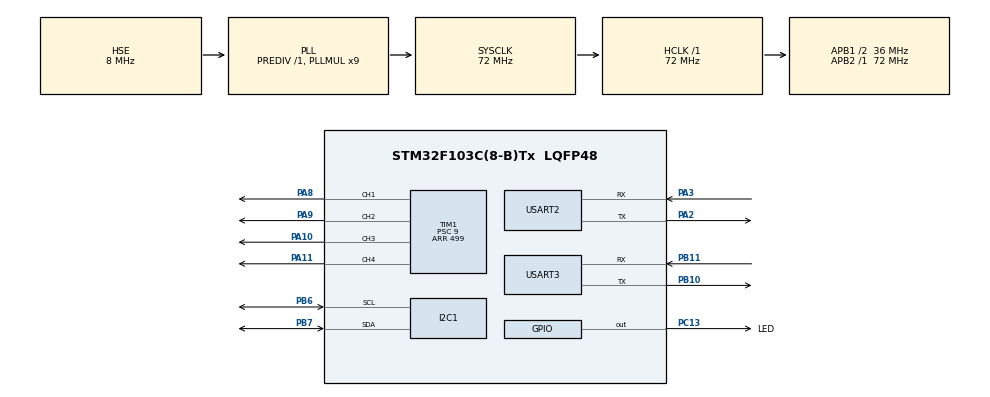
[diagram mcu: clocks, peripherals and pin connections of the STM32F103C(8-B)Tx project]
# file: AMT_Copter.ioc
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I2C1.I2C_Mode=I2C_Fast
I2C1.OwnAddress=0x03
Mcu.Family=STM32F1
Mcu.Name=STM32F103C(8-B)Tx
Mcu.Package=LQFP48
NVIC.I2C1_ER_IRQn=true\:2\:0\:true\:false\:true\:true
NVIC.I2C1_EV_IRQn=true\:2\:0\:true\:false\:true\:true
NVIC.PriorityGroup=NVIC_PRIORITYGROUP_4
NVIC.TIM2_IRQn=true\:3\:0\:true\:false\:true\:true
NVIC.USART2_IRQn=true\:5\:0\:true\:false\:true\:true
NVIC.USART3_IRQn=true\:1\:0\:true\:false\:true\:true
PA10.Signal=S_TIM1_CH3
PA11.Signal=S_TIM1_CH4
PA13.Mode=Serial_Wire
PA13.Signal=SYS_JTMS-SWDIO
PA14.Mode=Serial_Wire
PA14.Signal=SYS_JTCK-SWCLK
PA2.Mode=Asynchronous
PA2.Signal=USART2_TX
PA3.Mode=Asynchronous
PA3.Signal=USART2_RX
PA8.Signal=S_TIM1_CH1
PA9.Signal=S_TIM1_CH2
PB10.Mode=Asynchronous
PB10.Signal=USART3_TX
PB11.Mode=Asynchronous
PB11.Signal=USART3_RX
PB6.Mode=I2C
PB6.Signal=I2C1_SCL
PB7.Mode=I2C
PB7.Signal=I2C1_SDA
PC13-TAMPER-RTC.GPIO_Label=LED
PC13-TAMPER-RTC.GPIO_ModeDefaultOutputPP=GPIO_MODE_OUTPUT_PP
PC13-TAMPER-RTC.Signal=GPIO_Output
PD0-OSC_IN.Mode=HSE-External-Oscillator
PD0-OSC_IN.Signal=RCC_OSC_IN
PD1-OSC_OUT.Mode=HSE-External-Oscillator
PD1-OSC_OUT.Signal=RCC_OSC_OUT
ProjectManager.HeapSize=0x200
ProjectManager.StackSize=0x400
ProjectManager.TargetToolchain=Other Toolchains (GPDSC)
RCC.AHBFreq_Value=72000000
RCC.APB1CLKDivider=RCC_HCLK_DIV2
RCC.APB1Freq_Value=36000000
RCC.APB1TimFreq_Value=72000000
RCC.APB2Freq_Value=72000000
RCC.APB2TimFreq_Value=72000000
RCC.HCLKFreq_Value=72000000
RCC.PLLMUL=RCC_PLL_MUL9
RCC.PLLSourceVirtual=RCC_PLLSOURCE_HSE
RCC.SYSCLKFreq_VALUE=72000000
RCC.SYSCLKSource=RCC_SYSCLKSOURCE_PLLCLK
RCC.USBFreq_Value=72000000
SH.S_TIM1_CH1.0=TIM1_CH1,PWM Generation1 CH1
SH.S_TIM1_CH2.0=TIM1_CH2,PWM Generation2 CH2
SH.S_TIM1_CH3.0=TIM1_CH3,PWM Generation3 CH3
SH.S_TIM1_CH4.0=TIM1_CH4,PWM Generation4 CH4
TIM1.Channel-PWM\ Generation1\ CH1=TIM_CHANNEL_1
TIM1.Channel-PWM\ Generation2\ CH2=TIM_CHANNEL_2
TIM1.Channel-PWM\ Generation3\ CH3=TIM_CHANNEL_3
TIM1.Channel-PWM\ Generation4\ CH4=TIM_CHANNEL_4
TIM1.Period=499
TIM1.Prescaler=9
TIM2.Period=1
TIM2.Prescaler=71
USART2.VirtualMode=VM_ASYNC
USART3.VirtualMode=VM_ASYNC
VP_TIM2_VS_ClockSourceINT.Mode=Internal
board=custom

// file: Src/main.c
/**
  ******************************************************************************
  * @file           : main.c
  * @brief          : Main program body
  ******************************************************************************
  ** This notice applies to any and all portions of this file
  * that are not between comment pairs USER CODE BEGIN and
  * USER CODE END. Other portions of this file, whether
  * inserted by the user or by software development tools
  * are owned by their respective copyright owners.
  *
  * COPYRIGHT(c) 2018 STMicroelectronics
  *
  * Redistribution and use in source and binary forms, with or without modification,
  * are permitted provided that the following conditions are met:
  *   1. Redistributions of source code must retain the above copyright notice,
  *      this list of conditions and the following disclaimer.
  *   2. Redistributions in binary form must reproduce the above copyright notice,
  *      this list of conditions and the following disclaimer in the documentation
  *      and/or other materials provided with the distribution.
  *   3. Neither the name of STMicroelectronics nor the names of its contributors
  *      may be used to endorse or promote products derived from this software
  *      without specific prior written permission.
  *
  * THIS SOFTWARE IS PROVIDED BY THE COPYRIGHT HOLDERS AND CONTRIBUTORS "AS IS"
  * AND ANY EXPRESS OR IMPLIED WARRANTIES, INCLUDING, BUT NOT LIMITED TO, THE
  * IMPLIED WARRANTIES OF MERCHANTABILITY AND FITNESS FOR A PARTICULAR PURPOSE ARE
  * DISCLAIMED. IN NO EVENT SHALL THE COPYRIGHT HOLDER OR CONTRIBUTORS BE LIABLE
  * FOR ANY DIRECT, INDIRECT, INCIDENTAL, SPECIAL, EXEMPLARY, OR CONSEQUENTIAL
  * DAMAGES (INCLUDING, BUT NOT LIMITED TO, PROCUREMENT OF SUBSTITUTE GOODS OR
  * SERVICES; LOSS OF USE, DATA, OR PROFITS; OR BUSINESS INTERRUPTION) HOWEVER
  * CAUSED AND ON ANY THEORY OF LIABILITY, WHETHER IN CONTRACT, STRICT LIABILITY,
  * OR TORT (INCLUDING NEGLIGENCE OR OTHERWISE) ARISING IN ANY WAY OUT OF THE USE
  * OF THIS SOFTWARE, EVEN IF ADVISED OF THE POSSIBILITY OF SUCH DAMAGE.
  *
  ******************************************************************************
  */
#include "main.h"
#include "stm32f1xx_hal.h"
#include "i2c.h"
#include "tim.h"
#include "usart.h"
#include "gpio.h"

/* USER CODE BEGIN Includes */
#include "Copter_Param.h"
#include "Motor.h"
#include "Data_Exchange.h"
#include "MPU6050.h"
#include "IMU.h"

uint16_t ms_Count;   //主循环时基
uint8_t loop100Hz_flag,loop50Hz_flag,loop20Hz_flag,loop10Hz_flag,loop1Hz_flag;
uint16_t Frame;   //主循环频率
/**
  * @brief
  * @param
  * @retval None
  */
/* USER CODE END Includes */

/* USER CODE BEGIN PV */
/* Private variables ---------------------------------------------------------*/

/* USER CODE END PV */

void SystemClock_Config(void);

/* USER CODE BEGIN PFP */
/* Private function prototypes -----------------------------------------------*/

/* USER CODE END PFP */

/* USER CODE BEGIN 0 */
void Print_Head(void);
/* USER CODE END 0 */

int main(void)
{

  /* MCU Configuration----------------------------------------------------------*/

  /* Reset of all peripherals, Initializes the Flash interface and the Systick. */
  HAL_Init();

  /* Configure the system clock */
  SystemClock_Config();

  /* Initialize all configured peripherals */
  MX_GPIO_Init();
  MX_TIM1_Init();
  MX_USART2_UART_Init();
  MX_I2C1_Init();
  MX_TIM2_Init();
  MX_USART3_UART_Init();
  /* USER CODE BEGIN 2 */
  Print_Head();
  init_Motor();
  init_RX();
  init_MPU6050();
  HAL_TIM_Base_Start_IT(&htim2);                         //打开基本定时器中断更新
  printf("OK\n");

  /* USER CODE END 2 */

  /* Infinite loop */
  /* USER CODE BEGIN WHILE */
//

  while (1)
  {

  /* USER CODE END WHILE */

  /* USER CODE BEGIN 3 */

  static uint8_t armed=RESET;

  //检查解锁与上锁状态
  if(!armed&&Rx_Channel.Rx_Thr<Mincheck&&Rx_Channel.Rx_Yaw>Maxcheck)
      armed=SET;
  else if(armed&&Rx_Channel.Rx_Thr<Mincheck&&Rx_Channel.Rx_Yaw<Mincheck)
      armed=RESET;

  //dt
  if(1)
  {

    uint32_t now=Get_Tick();   //10us计数
    static uint32_t timer=0;
    float dt=(float)(now-timer)*0.00001;
    timer=now;

    //printf("%d\n",timer);
    update_IMU(dt);

  }

  Frame++;
  //10ms，发送上位机波形
  if(loop100Hz_flag)
  {
    loop100Hz_flag=0;
    PC_Send_Data();
    if(loop1Hz_flag)
    {
      loop1Hz_flag=0;
      printf("%d\n",Frame);
      Frame=0;

    }
  }

  //HAL_Delay(1);

  static uint32_t looptimer;
  while(Get_Tick()-looptimer<200) //循环控制在500Hz内
  {}
  looptimer=Get_Tick();
  }
  /* USER CODE END 3 */

}

void SystemClock_Config(void)
{

  RCC_OscInitTypeDef RCC_OscInitStruct;
  RCC_ClkInitTypeDef RCC_ClkInitStruct;

    /**Initializes the CPU, AHB and APB busses clocks
    */
  RCC_OscInitStruct.OscillatorType = RCC_OSCILLATORTYPE_HSE;
  RCC_OscInitStruct.HSEState = RCC_HSE_ON;
  RCC_OscInitStruct.HSEPredivValue = RCC_HSE_PREDIV_DIV1;
  RCC_OscInitStruct.HSIState = RCC_HSI_ON;
  RCC_OscInitStruct.PLL.PLLState = RCC_PLL_ON;
  RCC_OscInitStruct.PLL.PLLSource = RCC_PLLSOURCE_HSE;
  RCC_OscInitStruct.PLL.PLLMUL = RCC_PLL_MUL9;
  if (HAL_RCC_OscConfig(&RCC_OscInitStruct) != HAL_OK)
  {
    _Error_Handler(__FILE__, __LINE__);
  }

    /**Initializes the CPU, AHB and APB busses clocks
    */
  RCC_ClkInitStruct.ClockType = RCC_CLOCKTYPE_HCLK|RCC_CLOCKTYPE_SYSCLK
                              |RCC_CLOCKTYPE_PCLK1|RCC_CLOCKTYPE_PCLK2;
  RCC_ClkInitStruct.SYSCLKSource = RCC_SYSCLKSOURCE_PLLCLK;
  RCC_ClkInitStruct.AHBCLKDivider = RCC_SYSCLK_DIV1;
  RCC_ClkInitStruct.APB1CLKDivider = RCC_HCLK_DIV2;
  RCC_ClkInitStruct.APB2CLKDivider = RCC_HCLK_DIV1;

  if (HAL_RCC_ClockConfig(&RCC_ClkInitStruct, FLASH_LATENCY_2) != HAL_OK)
  {
    _Error_Handler(__FILE__, __LINE__);
  }

    /**Configure the Systick interrupt time
    */
  HAL_SYSTICK_Config(HAL_RCC_GetHCLKFreq()/1000);

    /**Configure the Systick
    */
  HAL_SYSTICK_CLKSourceConfig(SYSTICK_CLKSOURCE_HCLK);

  /* SysTick_IRQn interrupt configuration */
  HAL_NVIC_SetPriority(SysTick_IRQn, 0, 0);
}

/* USER CODE BEGIN 4 */
void Print_Head(void)
{
  printf("***************Welcome to AMT_Copter V1.0**************\n");
  printf("*******************Write By HamlinZheng****************\n");
  printf("**************Github:github.com/HamlinZheng************\n");
  printf("***********************Start Init**********************\n");
}
//系统时钟1ms回调函数
void HAL_SYSTICK_Callback(void)
{
  ms_Count++;          //计数到2s，max为2000
  if(ms_Count%10==0)
  {
    loop100Hz_flag=1;   //10ms
    if(ms_Count%20==0) loop50Hz_flag=1;  //20ms

    if(ms_Count%50==0)
    {
      loop20Hz_flag=1;        //50ms
      if(ms_Count%100==0)
      {
        loop10Hz_flag=1;   //100ms
        if(ms_Count%1000==0) loop1Hz_flag=1;  //1s
      }
    }
  }

  if(ms_Count==2000) ms_Count=0;
}

/* USER CODE END 4 */

void _Error_Handler(char *file, int line)
{
  while(1)
  {
  }
}

/************************ (C) COPYRIGHT STMicroelectronics *****END OF FILE****/
